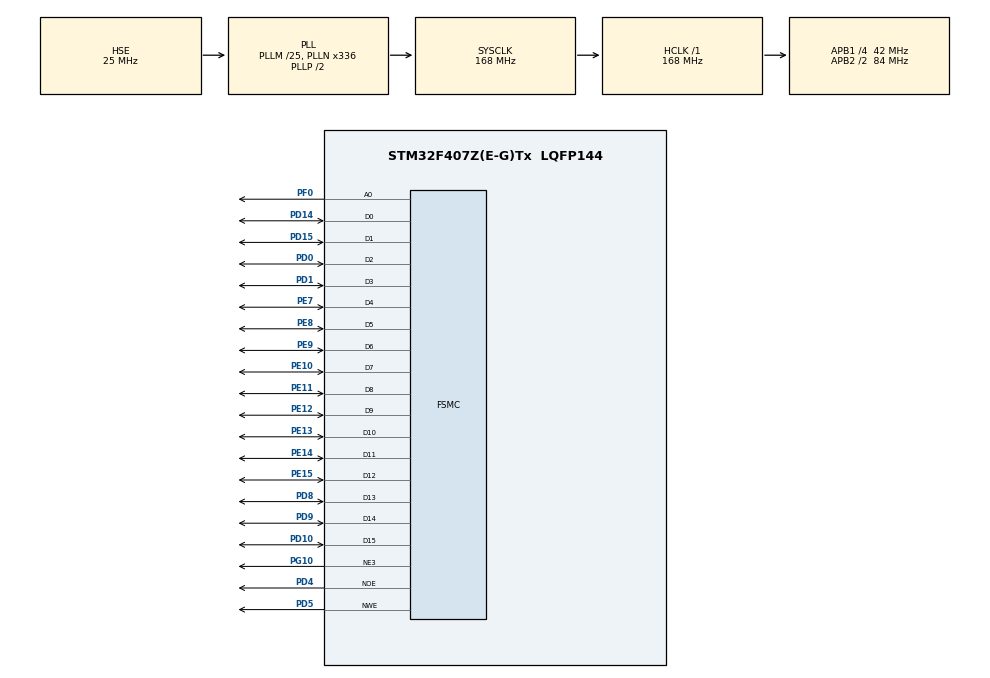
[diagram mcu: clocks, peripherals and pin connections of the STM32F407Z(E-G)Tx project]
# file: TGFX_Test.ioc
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FSMC.AddressSetupTime1=10
FSMC.BusTurnAroundDuration1=0
FSMC.DataSetupTime1=9
Mcu.Family=STM32F4
Mcu.Name=STM32F407Z(E-G)Tx
Mcu.Package=LQFP144
NVIC.PriorityGroup=NVIC_PRIORITYGROUP_4
NVIC.TIM2_IRQn=true\:0\:0\:false\:false\:true\:true\:true
PA13.Mode=Serial_Wire
PA13.Signal=SYS_JTMS-SWDIO
PA14.Mode=Serial_Wire
PA14.Signal=SYS_JTCK-SWCLK
PD0.Signal=FSMC_D2_DA2
PD1.Signal=FSMC_D3_DA3
PD10.Signal=FSMC_D15_DA15
PD14.Signal=FSMC_D0_DA0
PD15.Signal=FSMC_D1_DA1
PD4.Signal=FSMC_NOE
PD5.Signal=FSMC_NWE
PD8.Signal=FSMC_D13_DA13
PD9.Signal=FSMC_D14_DA14
PE10.Signal=FSMC_D7_DA7
PE11.Signal=FSMC_D8_DA8
PE12.Signal=FSMC_D9_DA9
PE13.Signal=FSMC_D10_DA10
PE14.Signal=FSMC_D11_DA11
PE15.Signal=FSMC_D12_DA12
PE7.Signal=FSMC_D4_DA4
PE8.Signal=FSMC_D5_DA5
PE9.Signal=FSMC_D6_DA6
PF0.Signal=FSMC_A0
PG10.Mode=NorPsramChipSelect3_1
PG10.Signal=FSMC_NE3
PH0-OSC_IN.Mode=HSE-External-Oscillator
PH0-OSC_IN.Signal=RCC_OSC_IN
PH1-OSC_OUT.Mode=HSE-External-Oscillator
PH1-OSC_OUT.Signal=RCC_OSC_OUT
ProjectManager.HeapSize=0x200
ProjectManager.StackSize=0x400
ProjectManager.TargetToolchain=STM32CubeIDE
RCC.48MHZClocksFreq_Value=84000000
RCC.AHBFreq_Value=168000000
RCC.APB1CLKDivider=RCC_HCLK_DIV4
RCC.APB1Freq_Value=42000000
RCC.APB1TimFreq_Value=84000000
RCC.APB2CLKDivider=RCC_HCLK_DIV2
RCC.APB2Freq_Value=84000000
RCC.APB2TimFreq_Value=168000000
RCC.CortexFreq_Value=168000000
RCC.HCLKFreq_Value=168000000
RCC.HSE_VALUE=25000000
RCC.HSI_VALUE=16000000
RCC.LSE_VALUE=32768
RCC.PLLM=25
RCC.PLLN=336
RCC.PLLSourceVirtual=RCC_PLLSOURCE_HSE
RCC.SYSCLKFreq_VALUE=168000000
RCC.SYSCLKSource=RCC_SYSCLKSOURCE_PLLCLK
RCC.VCOOutputFreq_Value=336000000
SH.FSMC_A0.0=FSMC_A0,A0_1
SH.FSMC_D0_DA0.0=FSMC_D0,16b-d1
SH.FSMC_D10_DA10.0=FSMC_D10,16b-d1
SH.FSMC_D11_DA11.0=FSMC_D11,16b-d1
SH.FSMC_D12_DA12.0=FSMC_D12,16b-d1
SH.FSMC_D13_DA13.0=FSMC_D13,16b-d1
SH.FSMC_D14_DA14.0=FSMC_D14,16b-d1
SH.FSMC_D15_DA15.0=FSMC_D15,16b-d1
SH.FSMC_D1_DA1.0=FSMC_D1,16b-d1
SH.FSMC_D2_DA2.0=FSMC_D2,16b-d1
SH.FSMC_D3_DA3.0=FSMC_D3,16b-d1
SH.FSMC_D4_DA4.0=FSMC_D4,16b-d1
SH.FSMC_D5_DA5.0=FSMC_D5,16b-d1
SH.FSMC_D6_DA6.0=FSMC_D6,16b-d1
SH.FSMC_D7_DA7.0=FSMC_D7,16b-d1
SH.FSMC_D8_DA8.0=FSMC_D8,16b-d1
SH.FSMC_D9_DA9.0=FSMC_D9,16b-d1
SH.FSMC_NOE.0=FSMC_NOE,Lcd1
SH.FSMC_NWE.0=FSMC_NWE,Lcd1
STMicroelectronics.X-CUBE-TOUCHGFX.4.17.0.ApplicationCcGraphicsJjApplication=TouchGFXOoGenerator
STMicroelectronics.X-CUBE-TOUCHGFX.4.17.0.tgfx_buffering_strategy=Partial
STMicroelectronics.X-CUBE-TOUCHGFX.4.17.0.tgfx_custom_height=480
STMicroelectronics.X-CUBE-TOUCHGFX.4.17.0.tgfx_custom_width=800
STMicroelectronics.X-CUBE-TOUCHGFX.4.17.0.tgfx_display_interface=disp_fmc
STMicroelectronics.X-CUBE-TOUCHGFX.4.17.0.tgfx_number_of_blocks=3
STMicroelectronics.X-CUBE-TOUCHGFX.4.17.0_IsPackSelfContextualization=true
TIM2.Period=1680-1
TIM2.Prescaler=1000-1
VP_CRC_VS_CRC.Mode=CRC_Activate
VP_STMicroelectronics.X-CUBE-TOUCHGFX_VS_GraphicsJjApplication_4.17.0.Mode=GraphicsJjApplication
VP_TIM2_VS_ClockSourceINT.Mode=Internal
board=custom

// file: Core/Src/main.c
/* USER CODE BEGIN Header */
/**
  ******************************************************************************
  * @file           : main.c
  * @brief          : Main program body
  ******************************************************************************
  * @attention
  *
  * <h2><center>&copy; Copyright (c) 2021 STMicroelectronics.
  * All rights reserved.</center></h2>
  *
  * This software component is licensed by ST under BSD 3-Clause license,
  * the "License"; You may not use this file except in compliance with the
  * License. You may obtain a copy of the License at:
  *                        opensource.org/licenses/BSD-3-Clause
  *
  ******************************************************************************
  */
/* USER CODE END Header */
#include "main.h"
#include "app_touchgfx.h"

/* USER CODE BEGIN Includes */
#include "SSD1963.h"
/* USER CODE END Includes */

/* USER CODE BEGIN PTD */
//HAL_RCC_GetHCLKFreq()
uint32_t Main_Clock = 0, ABP1_Clock, ABP2_Clock;
/* USER CODE END PTD */

CRC_HandleTypeDef hcrc;

TIM_HandleTypeDef htim2;

SRAM_HandleTypeDef hsram1;

void SystemClock_Config(void);
static void MX_GPIO_Init(void);
static void MX_CRC_Init(void);
static void MX_FSMC_Init(void);
static void MX_TIM2_Init(void);
/* USER CODE BEGIN PFP */
extern void DisplayDriver_TransferCompleteCallback();
/* USER CODE END PFP */

/* USER CODE BEGIN 0 */
uint16_t Test_Counter;
extern void touchgfxSignalVSync(void);
void HAL_TIM_PeriodElapsedCallback(TIM_HandleTypeDef *htim)
{
	if(htim->Instance == TIM2)
	{
		touchgfxSignalVSync();
		Test_Counter++;
	}
}

/* USER CODE END 0 */

int main(void)
{

  /* MCU Configuration--------------------------------------------------------*/

  /* Reset of all peripherals, Initializes the Flash interface and the Systick. */
  HAL_Init();

  /* Configure the system clock */
  SystemClock_Config();

  /* Initialize all configured peripherals */
  MX_GPIO_Init();
  MX_CRC_Init();
  MX_FSMC_Init();
  MX_TIM2_Init();
  MX_TouchGFX_Init();
  /* USER CODE BEGIN 2 */
  SSD1963_Init();
  LCD_Clear(0xF800);

  Main_Clock = HAL_RCC_GetHCLKFreq();
  ABP1_Clock = HAL_RCC_GetPCLK1Freq();
  ABP2_Clock = HAL_RCC_GetPCLK2Freq();
  HAL_TIM_Base_Start_IT(&htim2);
  /* USER CODE END 2 */

  /* Infinite loop */
  while (1)
  {

  MX_TouchGFX_Process();
    /* USER CODE BEGIN 3 */
  //SSD1963_GPIO_Toggle(); /*** To check SSD1963 connection, NOT necessary. ***/
  }
  /* USER CODE END 3 */
}

void SystemClock_Config(void)
{
  RCC_OscInitTypeDef RCC_OscInitStruct = {0};
  RCC_ClkInitTypeDef RCC_ClkInitStruct = {0};

  /** Configure the main internal regulator output voltage
  */
  __HAL_RCC_PWR_CLK_ENABLE();
  __HAL_PWR_VOLTAGESCALING_CONFIG(PWR_REGULATOR_VOLTAGE_SCALE1);
  /** Initializes the RCC Oscillators according to the specified parameters
  * in the RCC_OscInitTypeDef structure.
  */
  RCC_OscInitStruct.OscillatorType = RCC_OSCILLATORTYPE_HSE;
  RCC_OscInitStruct.HSEState = RCC_HSE_ON;
  RCC_OscInitStruct.PLL.PLLState = RCC_PLL_ON;
  RCC_OscInitStruct.PLL.PLLSource = RCC_PLLSOURCE_HSE;
  RCC_OscInitStruct.PLL.PLLM = 25;
  RCC_OscInitStruct.PLL.PLLN = 336;
  RCC_OscInitStruct.PLL.PLLP = RCC_PLLP_DIV2;
  RCC_OscInitStruct.PLL.PLLQ = 4;
  if (HAL_RCC_OscConfig(&RCC_OscInitStruct) != HAL_OK)
  {
    Error_Handler();
  }
  /** Initializes the CPU, AHB and APB buses clocks
  */
  RCC_ClkInitStruct.ClockType = RCC_CLOCKTYPE_HCLK|RCC_CLOCKTYPE_SYSCLK
                              |RCC_CLOCKTYPE_PCLK1|RCC_CLOCKTYPE_PCLK2;
  RCC_ClkInitStruct.SYSCLKSource = RCC_SYSCLKSOURCE_PLLCLK;
  RCC_ClkInitStruct.AHBCLKDivider = RCC_SYSCLK_DIV1;
  RCC_ClkInitStruct.APB1CLKDivider = RCC_HCLK_DIV4;
  RCC_ClkInitStruct.APB2CLKDivider = RCC_HCLK_DIV2;

  if (HAL_RCC_ClockConfig(&RCC_ClkInitStruct, FLASH_LATENCY_5) != HAL_OK)
  {
    Error_Handler();
  }
}

static void MX_CRC_Init(void)
{

  hcrc.Instance = CRC;
  if (HAL_CRC_Init(&hcrc) != HAL_OK)
  {
    Error_Handler();
  }

}

static void MX_TIM2_Init(void)
{

  TIM_ClockConfigTypeDef sClockSourceConfig = {0};
  TIM_MasterConfigTypeDef sMasterConfig = {0};

  /* USER CODE BEGIN TIM2_Init 1 */
  //Timer 2 Clock: 84 MHz, PSC = 39, ARR = 62999 ==> 30 ms
  /* USER CODE END TIM2_Init 1 */
  htim2.Instance = TIM2;
  htim2.Init.Prescaler = 39;
  htim2.Init.CounterMode = TIM_COUNTERMODE_UP;
  htim2.Init.Period = 62999;
  htim2.Init.ClockDivision = TIM_CLOCKDIVISION_DIV1;
  htim2.Init.AutoReloadPreload = TIM_AUTORELOAD_PRELOAD_DISABLE;
  if (HAL_TIM_Base_Init(&htim2) != HAL_OK)
  {
    Error_Handler();
  }
  sClockSourceConfig.ClockSource = TIM_CLOCKSOURCE_INTERNAL;
  if (HAL_TIM_ConfigClockSource(&htim2, &sClockSourceConfig) != HAL_OK)
  {
    Error_Handler();
  }
  sMasterConfig.MasterOutputTrigger = TIM_TRGO_RESET;
  sMasterConfig.MasterSlaveMode = TIM_MASTERSLAVEMODE_DISABLE;
  if (HAL_TIMEx_MasterConfigSynchronization(&htim2, &sMasterConfig) != HAL_OK)
  {
    Error_Handler();
  }

}

static void MX_GPIO_Init(void)
{

  /* GPIO Ports Clock Enable */
  __HAL_RCC_GPIOF_CLK_ENABLE();
  __HAL_RCC_GPIOH_CLK_ENABLE();
  __HAL_RCC_GPIOE_CLK_ENABLE();
  __HAL_RCC_GPIOD_CLK_ENABLE();
  __HAL_RCC_GPIOA_CLK_ENABLE();
  __HAL_RCC_GPIOG_CLK_ENABLE();

}

/* FSMC initialization function */
static void MX_FSMC_Init(void)
{

  FSMC_NORSRAM_TimingTypeDef Timing = {0};

  /** Perform the SRAM1 memory initialization sequence
  */
  hsram1.Instance = FSMC_NORSRAM_DEVICE;
  hsram1.Extended = FSMC_NORSRAM_EXTENDED_DEVICE;
  /* hsram1.Init */
  hsram1.Init.NSBank = FSMC_NORSRAM_BANK3;
  hsram1.Init.DataAddressMux = FSMC_DATA_ADDRESS_MUX_DISABLE;
  hsram1.Init.MemoryType = FSMC_MEMORY_TYPE_SRAM;
  hsram1.Init.MemoryDataWidth = FSMC_NORSRAM_MEM_BUS_WIDTH_16;
  hsram1.Init.BurstAccessMode = FSMC_BURST_ACCESS_MODE_DISABLE;
  hsram1.Init.WaitSignalPolarity = FSMC_WAIT_SIGNAL_POLARITY_LOW;
  hsram1.Init.WrapMode = FSMC_WRAP_MODE_DISABLE;
  hsram1.Init.WaitSignalActive = FSMC_WAIT_TIMING_BEFORE_WS;
  hsram1.Init.WriteOperation = FSMC_WRITE_OPERATION_ENABLE;
  hsram1.Init.WaitSignal = FSMC_WAIT_SIGNAL_DISABLE;
  hsram1.Init.ExtendedMode = FSMC_EXTENDED_MODE_DISABLE;
  hsram1.Init.AsynchronousWait = FSMC_ASYNCHRONOUS_WAIT_DISABLE;
  hsram1.Init.WriteBurst = FSMC_WRITE_BURST_DISABLE;
  hsram1.Init.PageSize = FSMC_PAGE_SIZE_NONE;
  /* Timing */
  Timing.AddressSetupTime = 10;
  Timing.AddressHoldTime = 15;
  Timing.DataSetupTime = 9;
  Timing.BusTurnAroundDuration = 0;
  Timing.CLKDivision = 16;
  Timing.DataLatency = 17;
  Timing.AccessMode = FSMC_ACCESS_MODE_A;
  /* ExtTiming */

  if (HAL_SRAM_Init(&hsram1, &Timing, NULL) != HAL_OK)
  {
    Error_Handler( );
  }

}

/* USER CODE BEGIN 4 */
uint8_t isTransmittingData = 0;
int touchgfxDisplayDriverTransmitActive()
{
	//return LCD_isBusy(0x50, 0x80);
	return isTransmittingData;
}
void touchgfxDisplayDriverTransmitBlock(const uint8_t* pixels, uint16_t x, uint16_t y, uint16_t w, uint16_t h)
{
	isTransmittingData = 1;
	LCD_drawBuffer((uint16_t*)pixels, x, y, w, h);
	DisplayDriver_TransferCompleteCallback();
}
/* USER CODE END 4 */

void Error_Handler(void)
{
  __disable_irq();
  while (1)
  {
  }
}

/************************ (C) COPYRIGHT STMicroelectronics *****END OF FILE****/
